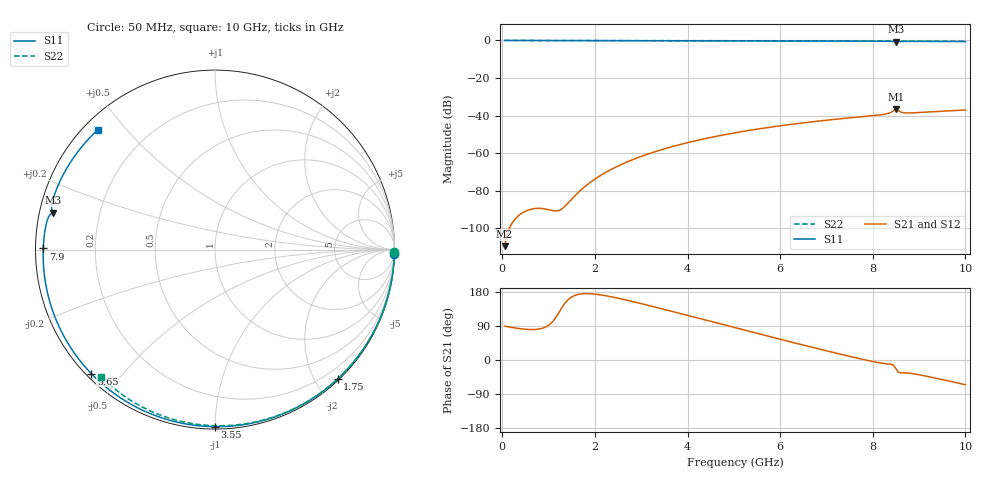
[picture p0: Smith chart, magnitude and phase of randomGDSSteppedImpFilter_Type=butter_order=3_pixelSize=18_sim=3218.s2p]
! freq	dB(S11)	phase(S11)	dB(S12)	phase(S12)
!  dB(S21)	phase(S21)	dB(S22)	phase(S22)
!S-par simulation data
#  GHz  S  DB  R 50
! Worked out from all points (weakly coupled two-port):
!   200 points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, 50 MHz to 10 GHz, reference 50 ohm
!   highest |S21| = -36.63 dB at 8.5 GHz (marker M1); lowest = -109.6 dB at 50 MHz (marker M2)
!   lowest |S11| = -0.7 dB at 8.5 GHz (marker M3), VSWR 25.15, Z = 2.01 + j5.62 ohm
!   |S11| at or under -10 dB: nowhere
!   |S22| runs from -0.4 to 0.0 dB; largest |S21 - S12| = 0
!   S11 on the Smith chart (normalised r, x): 50 MHz: 0, -83; 1.75 GHz: 0.02, -2.32; 3.55 GHz: 0.01, -1.00; 5.65 GHz: 0.01, -0.41; 7.9 GHz: 0.02, +0.00; 10 GHz: 0.04, +0.42
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0.05  -0.00 -1.4  -109.56 89.2  -109.56 89.2  -0.00 -0.8
0.8  -0.03 -21.7  -89.41 81.8  -89.41 81.8  -0.02 -12.1
1.65  -0.06 -44.0  -80.75 173.3  -80.75 173.3  -0.03 -24.8
1.7  -0.06 -45.3  -79.61 174.3  -79.61 174.3  -0.03 -25.5
1.75  -0.06 -46.6  -78.52 174.9  -78.52 174.9  -0.03 -26.3
2.05  -0.07 -54.2  -73.00 173.0  -73.00 173.0  -0.04 -30.7
2.45  -0.08 -64.1  -67.46 164.4  -67.46 164.4  -0.05 -36.5
2.9  -0.09 -75.0  -62.67 151.8  -62.67 151.8  -0.06 -42.9
3.4  -0.11 -86.7  -58.46 136.6  -58.46 136.6  -0.07 -50.0
3.55  -0.12 -90.1  -57.37 131.9  -57.37 131.9  -0.07 -52.1
4.25  -0.14 -105.6  -52.99 109.7  -52.99 109.7  -0.09 -61.7
5.05  -0.18 -122.6  -49.08 84.4  -49.08 84.4  -0.11 -72.4
5.65  -0.21 -135.0  -46.69 65.5  -46.69 65.5  -0.13 -80.1
6.7  -0.28 -156.1  -43.30 33.3  -43.30 33.3  -0.18 -93.3
7.3  -0.33 -168.1  -41.71 15.4  -41.71 15.4  -0.21 -100.5
7.9  -0.38 179.6  -40.28 -1.5  -40.28 -1.5  -0.25 -107.7
8.35  -0.46 169.9  -38.72 -10.6  -38.72 -10.6  -0.29 -112.9
8.5  -0.69 167.2  -36.63 -23.1  -36.63 -23.1  -0.30 -114.6
8.6  -0.55 166.1  -38.09 -34.0  -38.09 -34.0  -0.30 -115.8
8.75  -0.49 162.6  -38.63 -34.3  -38.63 -34.3  -0.32 -117.5
9.35  -0.53 149.3  -37.87 -47.7  -37.87 -47.7  -0.38 -124.4
10  -0.59 134.4  -37.03 -65.2  -37.03 -65.2  -0.45 -131.7
